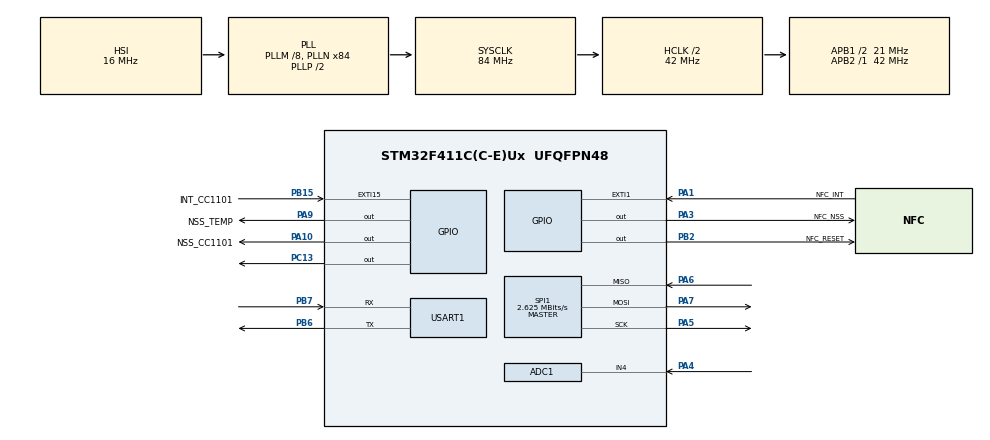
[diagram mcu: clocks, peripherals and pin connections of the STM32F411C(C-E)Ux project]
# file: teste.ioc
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ADC1.Channel-0\#ChannelRegularConversion=ADC_CHANNEL_4
ADC1.NbrOfConversionFlag=1
ADC1.Rank-0\#ChannelRegularConversion=1
ADC1.SamplingTime-0\#ChannelRegularConversion=ADC_SAMPLETIME_3CYCLES
ADC1.master=1
Mcu.Family=STM32F4
Mcu.Name=STM32F411C(C-E)Ux
Mcu.Package=UFQFPN48
NVIC.EXTI15_10_IRQn=true\:0\:0\:false\:false\:true\:true\:true\:true
NVIC.EXTI1_IRQn=true\:0\:0\:false\:false\:true\:true\:true\:true
NVIC.PriorityGroup=NVIC_PRIORITYGROUP_4
NVIC.USART1_IRQn=true\:0\:0\:false\:false\:true\:true\:true\:true
PA1.GPIO_Label=NFC_INT
PA1.GPIO_ModeDefaultEXTI=GPIO_MODE_IT_FALLING
PA1.GPIO_PuPd=GPIO_PULLUP
PA1.Signal=GPXTI1
PA10.GPIO_Label=NSS_CC1101
PA10.PinState=GPIO_PIN_SET
PA10.Signal=GPIO_Output
PA3.GPIO_Label=NFC_NSS
PA3.PinState=GPIO_PIN_SET
PA3.Signal=GPIO_Output
PA4.Signal=ADCx_IN4
PA5.Mode=Full_Duplex_Master
PA5.Signal=SPI1_SCK
PA6.Mode=Full_Duplex_Master
PA6.Signal=SPI1_MISO
PA7.Mode=Full_Duplex_Master
PA7.Signal=SPI1_MOSI
PA9.GPIO_Label=NSS_TEMP
PA9.PinState=GPIO_PIN_SET
PA9.Signal=GPIO_Output
PB15.GPIO_Label=INT_CC1101
PB15.GPIO_ModeDefaultEXTI=GPIO_MODE_IT_FALLING
PB15.Signal=GPXTI15
PB2.GPIO_Label=NFC_RESET
PB2.PinState=GPIO_PIN_SET
PB2.Signal=GPIO_Output
PB6.Mode=Asynchronous
PB6.Signal=USART1_TX
PB7.Mode=Asynchronous
PB7.Signal=USART1_RX
PC13-ANTI_TAMP.Signal=GPIO_Output
PC14-OSC32_IN.Mode=LSE-External-Oscillator
PC14-OSC32_IN.Signal=RCC_OSC32_IN
PC15-OSC32_OUT.Mode=LSE-External-Oscillator
PC15-OSC32_OUT.Signal=RCC_OSC32_OUT
PH0\ -\ OSC_IN.Mode=HSE-External-Clock-Source
PH0\ -\ OSC_IN.Signal=RCC_OSC_IN
PH1\ -\ OSC_OUT.Mode=HSE-External-Clock-Source
PH1\ -\ OSC_OUT.Signal=RCC_OSC_OUT
ProjectManager.HeapSize=0x200
ProjectManager.StackSize=0x400
ProjectManager.TargetToolchain=CMake
RCC.48MHZClocksFreq_Value=42000000
RCC.AHBCLKDivider=RCC_SYSCLK_DIV2
RCC.AHBFreq_Value=42000000
RCC.APB1CLKDivider=RCC_HCLK_DIV2
RCC.APB1Freq_Value=21000000
RCC.APB1TimFreq_Value=42000000
RCC.APB2Freq_Value=42000000
RCC.APB2TimFreq_Value=42000000
RCC.CortexFreq_Value=42000000
RCC.HCLKFreq_Value=42000000
RCC.HSE_VALUE=25000000
RCC.HSI_VALUE=16000000
RCC.PLLM=8
RCC.PLLN=84
RCC.RCC_RTC_Clock_Source=RCC_RTCCLKSOURCE_LSE
RCC.RCC_RTC_Clock_SourceVirtual=RCC_RTCCLKSOURCE_LSE
RCC.SYSCLKFreq_VALUE=84000000
RCC.SYSCLKSource=RCC_SYSCLKSOURCE_PLLCLK
RCC.VCOOutputFreq_Value=168000000
SH.ADCx_IN4.0=ADC1_IN4,IN4
SPI1.BaudRatePrescaler=SPI_BAUDRATEPRESCALER_16
SPI1.CalculateBaudRate=2.625 MBits/s
SPI1.Direction=SPI_DIRECTION_2LINES
SPI1.Mode=SPI_MODE_MASTER
SPI1.VirtualType=VM_MASTER
USART1.VirtualMode=VM_ASYNC
VP_RTC_VS_RTC_Activate.Mode=RTC_Enabled
VP_RTC_VS_RTC_Calendar.Mode=RTC_Calendar
board=custom

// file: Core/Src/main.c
/* USER CODE BEGIN Header */
/**
  ******************************************************************************
  * @file           : main.c
  * @brief          : Main program body
  ******************************************************************************
  * @attention
  *
  * Copyright (c) 2026 STMicroelectronics.
  * All rights reserved.
  *
  * This software is licensed under terms that can be found in the LICENSE file
  * in the root directory of this software component.
  * If no LICENSE file comes with this software, it is provided AS-IS.
  *
  ******************************************************************************
  */
/* USER CODE END Header */
#include "main.h"

/* USER CODE BEGIN Includes */
#include "config.h"
#include "dispatcher.h"
#include "com_module.h"
#include "hub.h"
#include "pn532.h"
#include "pn532_stm32f4.h"
#include <stdint.h>
#include <stdio.h>
/* USER CODE END Includes */

ADC_HandleTypeDef hadc1;

RTC_HandleTypeDef hrtc;

SPI_HandleTypeDef hspi1;

UART_HandleTypeDef huart1;

/* USER CODE BEGIN PV */
PN532 pn532;
volatile uint8_t s_rx_ready = 0;
volatile uint8_t nfc_card_ready = 0;
uint8_t uart_rx_byte = 0;
/* USER CODE END PV */

void SystemClock_Config(void);
static void MX_GPIO_Init(void);
static void MX_ADC1_Init(void);
static void MX_RTC_Init(void);
static void MX_SPI1_Init(void);
static void MX_USART1_UART_Init(void);

int main(void)
{

  /* MCU Configuration--------------------------------------------------------*/

  /* Reset of all peripherals, Initializes the Flash interface and the Systick. */
  HAL_Init();

  /* Configure the system clock */
  SystemClock_Config();

  /* Initialize all configured peripherals */
  MX_GPIO_Init();
  MX_ADC1_Init();
  MX_RTC_Init();
  MX_SPI1_Init();
  MX_USART1_UART_Init();
  /* USER CODE BEGIN 2 */
  COM_Module_Init(MY_ADDR);
  DISPATCHER_Init();
  NFC_HwInit(&pn532);
  HUB_Init(&pn532);
  HAL_UART_Receive_IT(&huart1, &uart_rx_byte, 1);
  // HUB_RequestStatus(ADDR_ROOM_1_EXT);
  /* USER CODE END 2 */

  /* Infinite loop */
  while (1)
  {

    /* USER CODE BEGIN 3 */
    COM_Module_Process();
    HUB_Process();
  }
  /* USER CODE END 3 */
}

void SystemClock_Config(void)
{
  RCC_OscInitTypeDef RCC_OscInitStruct = {0};
  RCC_ClkInitTypeDef RCC_ClkInitStruct = {0};

  /** Configure the main internal regulator output voltage
  */
  __HAL_RCC_PWR_CLK_ENABLE();
  __HAL_PWR_VOLTAGESCALING_CONFIG(PWR_REGULATOR_VOLTAGE_SCALE1);

  /** Initializes the RCC Oscillators according to the specified parameters
  * in the RCC_OscInitTypeDef structure.
  */
  RCC_OscInitStruct.OscillatorType = RCC_OSCILLATORTYPE_HSI|RCC_OSCILLATORTYPE_LSE;
  RCC_OscInitStruct.LSEState = RCC_LSE_ON;
  RCC_OscInitStruct.HSIState = RCC_HSI_ON;
  RCC_OscInitStruct.HSICalibrationValue = RCC_HSICALIBRATION_DEFAULT;
  RCC_OscInitStruct.PLL.PLLState = RCC_PLL_ON;
  RCC_OscInitStruct.PLL.PLLSource = RCC_PLLSOURCE_HSI;
  RCC_OscInitStruct.PLL.PLLM = 8;
  RCC_OscInitStruct.PLL.PLLN = 84;
  RCC_OscInitStruct.PLL.PLLP = RCC_PLLP_DIV2;
  RCC_OscInitStruct.PLL.PLLQ = 4;
  if (HAL_RCC_OscConfig(&RCC_OscInitStruct) != HAL_OK)
  {
    Error_Handler();
  }

  /** Initializes the CPU, AHB and APB buses clocks
  */
  RCC_ClkInitStruct.ClockType = RCC_CLOCKTYPE_HCLK|RCC_CLOCKTYPE_SYSCLK
                              |RCC_CLOCKTYPE_PCLK1|RCC_CLOCKTYPE_PCLK2;
  RCC_ClkInitStruct.SYSCLKSource = RCC_SYSCLKSOURCE_PLLCLK;
  RCC_ClkInitStruct.AHBCLKDivider = RCC_SYSCLK_DIV2;
  RCC_ClkInitStruct.APB1CLKDivider = RCC_HCLK_DIV2;
  RCC_ClkInitStruct.APB2CLKDivider = RCC_HCLK_DIV1;

  if (HAL_RCC_ClockConfig(&RCC_ClkInitStruct, FLASH_LATENCY_1) != HAL_OK)
  {
    Error_Handler();
  }
}

static void MX_ADC1_Init(void)
{

  ADC_ChannelConfTypeDef sConfig = {0};

  /** Configure the global features of the ADC (Clock, Resolution, Data Alignment and number of conversion)
  */
  hadc1.Instance = ADC1;
  hadc1.Init.ClockPrescaler = ADC_CLOCK_SYNC_PCLK_DIV2;
  hadc1.Init.Resolution = ADC_RESOLUTION_12B;
  hadc1.Init.ScanConvMode = DISABLE;
  hadc1.Init.ContinuousConvMode = DISABLE;
  hadc1.Init.DiscontinuousConvMode = DISABLE;
  hadc1.Init.ExternalTrigConvEdge = ADC_EXTERNALTRIGCONVEDGE_NONE;
  hadc1.Init.ExternalTrigConv = ADC_SOFTWARE_START;
  hadc1.Init.DataAlign = ADC_DATAALIGN_RIGHT;
  hadc1.Init.NbrOfConversion = 1;
  hadc1.Init.DMAContinuousRequests = DISABLE;
  hadc1.Init.EOCSelection = ADC_EOC_SINGLE_CONV;
  if (HAL_ADC_Init(&hadc1) != HAL_OK)
  {
    Error_Handler();
  }

  /** Configure for the selected ADC regular channel its corresponding rank in the sequencer and its sample time.
  */
  sConfig.Channel = ADC_CHANNEL_4;
  sConfig.Rank = 1;
  sConfig.SamplingTime = ADC_SAMPLETIME_3CYCLES;
  if (HAL_ADC_ConfigChannel(&hadc1, &sConfig) != HAL_OK)
  {
    Error_Handler();
  }

}

static void MX_RTC_Init(void)
{

  RTC_TimeTypeDef sTime = {0};
  RTC_DateTypeDef sDate = {0};

  /** Initialize RTC Only
  */
  hrtc.Instance = RTC;
  hrtc.Init.HourFormat = RTC_HOURFORMAT_24;
  hrtc.Init.AsynchPrediv = 127;
  hrtc.Init.SynchPrediv = 255;
  hrtc.Init.OutPut = RTC_OUTPUT_DISABLE;
  hrtc.Init.OutPutPolarity = RTC_OUTPUT_POLARITY_HIGH;
  hrtc.Init.OutPutType = RTC_OUTPUT_TYPE_OPENDRAIN;
  if (HAL_RTC_Init(&hrtc) != HAL_OK)
  {
    Error_Handler();
  }

  /** Initialize RTC and set the Time and Date
  */
  sTime.Hours = 0x0;
  sTime.Minutes = 0x0;
  sTime.Seconds = 0x0;
  sTime.DayLightSaving = RTC_DAYLIGHTSAVING_NONE;
  sTime.StoreOperation = RTC_STOREOPERATION_RESET;
  if (HAL_RTC_SetTime(&hrtc, &sTime, RTC_FORMAT_BCD) != HAL_OK)
  {
    Error_Handler();
  }
  sDate.WeekDay = RTC_WEEKDAY_MONDAY;
  sDate.Month = RTC_MONTH_JANUARY;
  sDate.Date = 0x1;
  sDate.Year = 0x0;

  if (HAL_RTC_SetDate(&hrtc, &sDate, RTC_FORMAT_BCD) != HAL_OK)
  {
    Error_Handler();
  }

}

static void MX_SPI1_Init(void)
{

  /* SPI1 parameter configuration*/
  hspi1.Instance = SPI1;
  hspi1.Init.Mode = SPI_MODE_MASTER;
  hspi1.Init.Direction = SPI_DIRECTION_2LINES;
  hspi1.Init.DataSize = SPI_DATASIZE_8BIT;
  hspi1.Init.CLKPolarity = SPI_POLARITY_LOW;
  hspi1.Init.CLKPhase = SPI_PHASE_1EDGE;
  hspi1.Init.NSS = SPI_NSS_SOFT;
  hspi1.Init.BaudRatePrescaler = SPI_BAUDRATEPRESCALER_16;
  hspi1.Init.FirstBit = SPI_FIRSTBIT_MSB;
  hspi1.Init.TIMode = SPI_TIMODE_DISABLE;
  hspi1.Init.CRCCalculation = SPI_CRCCALCULATION_DISABLE;
  hspi1.Init.CRCPolynomial = 10;
  if (HAL_SPI_Init(&hspi1) != HAL_OK)
  {
    Error_Handler();
  }

}

static void MX_USART1_UART_Init(void)
{

  huart1.Instance = USART1;
  huart1.Init.BaudRate = 115200;
  huart1.Init.WordLength = UART_WORDLENGTH_8B;
  huart1.Init.StopBits = UART_STOPBITS_1;
  huart1.Init.Parity = UART_PARITY_NONE;
  huart1.Init.Mode = UART_MODE_TX_RX;
  huart1.Init.HwFlowCtl = UART_HWCONTROL_NONE;
  huart1.Init.OverSampling = UART_OVERSAMPLING_16;
  if (HAL_UART_Init(&huart1) != HAL_OK)
  {
    Error_Handler();
  }

}

static void MX_GPIO_Init(void)
{
  GPIO_InitTypeDef GPIO_InitStruct = {0};

  /* GPIO Ports Clock Enable */
  __HAL_RCC_GPIOC_CLK_ENABLE();
  __HAL_RCC_GPIOH_CLK_ENABLE();
  __HAL_RCC_GPIOA_CLK_ENABLE();
  __HAL_RCC_GPIOB_CLK_ENABLE();

  /*Configure GPIO pin Output Level */
  HAL_GPIO_WritePin(GPIOC, GPIO_PIN_13, GPIO_PIN_RESET);

  /*Configure GPIO pin Output Level */
  HAL_GPIO_WritePin(GPIOA, NFC_NSS_Pin|NSS_TEMP_Pin|NSS_CC1101_Pin, GPIO_PIN_SET);

  /*Configure GPIO pin Output Level */
  HAL_GPIO_WritePin(NFC_RESET_GPIO_Port, NFC_RESET_Pin, GPIO_PIN_SET);

  /*Configure GPIO pin : PC13 */
  GPIO_InitStruct.Pin = GPIO_PIN_13;
  GPIO_InitStruct.Mode = GPIO_MODE_OUTPUT_PP;
  GPIO_InitStruct.Pull = GPIO_NOPULL;
  GPIO_InitStruct.Speed = GPIO_SPEED_FREQ_LOW;
  HAL_GPIO_Init(GPIOC, &GPIO_InitStruct);

  /*Configure GPIO pin : NFC_INT_Pin */
  GPIO_InitStruct.Pin = NFC_INT_Pin;
  GPIO_InitStruct.Mode = GPIO_MODE_IT_FALLING;
  GPIO_InitStruct.Pull = GPIO_PULLUP;
  HAL_GPIO_Init(NFC_INT_GPIO_Port, &GPIO_InitStruct);

  /*Configure GPIO pins : NFC_NSS_Pin NSS_TEMP_Pin NSS_CC1101_Pin */
  GPIO_InitStruct.Pin = NFC_NSS_Pin|NSS_TEMP_Pin|NSS_CC1101_Pin;
  GPIO_InitStruct.Mode = GPIO_MODE_OUTPUT_PP;
  GPIO_InitStruct.Pull = GPIO_NOPULL;
  GPIO_InitStruct.Speed = GPIO_SPEED_FREQ_LOW;
  HAL_GPIO_Init(GPIOA, &GPIO_InitStruct);

  /*Configure GPIO pin : NFC_RESET_Pin */
  GPIO_InitStruct.Pin = NFC_RESET_Pin;
  GPIO_InitStruct.Mode = GPIO_MODE_OUTPUT_PP;
  GPIO_InitStruct.Pull = GPIO_NOPULL;
  GPIO_InitStruct.Speed = GPIO_SPEED_FREQ_LOW;
  HAL_GPIO_Init(NFC_RESET_GPIO_Port, &GPIO_InitStruct);

  /*Configure GPIO pin : INT_CC1101_Pin */
  GPIO_InitStruct.Pin = INT_CC1101_Pin;
  GPIO_InitStruct.Mode = GPIO_MODE_IT_FALLING;
  GPIO_InitStruct.Pull = GPIO_NOPULL;
  HAL_GPIO_Init(INT_CC1101_GPIO_Port, &GPIO_InitStruct);

  /* EXTI interrupt init*/
  HAL_NVIC_SetPriority(EXTI1_IRQn, 0, 0);
  HAL_NVIC_EnableIRQ(EXTI1_IRQn);

  HAL_NVIC_SetPriority(EXTI15_10_IRQn, 0, 0);
  HAL_NVIC_EnableIRQ(EXTI15_10_IRQn);

}

/* USER CODE BEGIN 4 */
int __io_putchar(int ch)
{
  HAL_UART_Transmit(&huart1, (uint8_t *)&ch, 1, 0xFFFF);
  return ch;
}

void HAL_GPIO_EXTI_Callback(uint16_t GPIO_Pin)
{
    if (GPIO_Pin == INT_CC1101_Pin) s_rx_ready = 1u;
    if (GPIO_Pin == NFC_INT_Pin)    nfc_card_ready = 1u;
}

void HAL_UART_RxCpltCallback(UART_HandleTypeDef *huart)
{
  printf("RX: %c\r\n", uart_rx_byte);
  HUB_OnUartByte(uart_rx_byte);
  HAL_UART_Receive_IT(huart, &uart_rx_byte, 1);
}
/* USER CODE END 4 */

void Error_Handler(void)
{
  __disable_irq();
  while (1) {}
}
